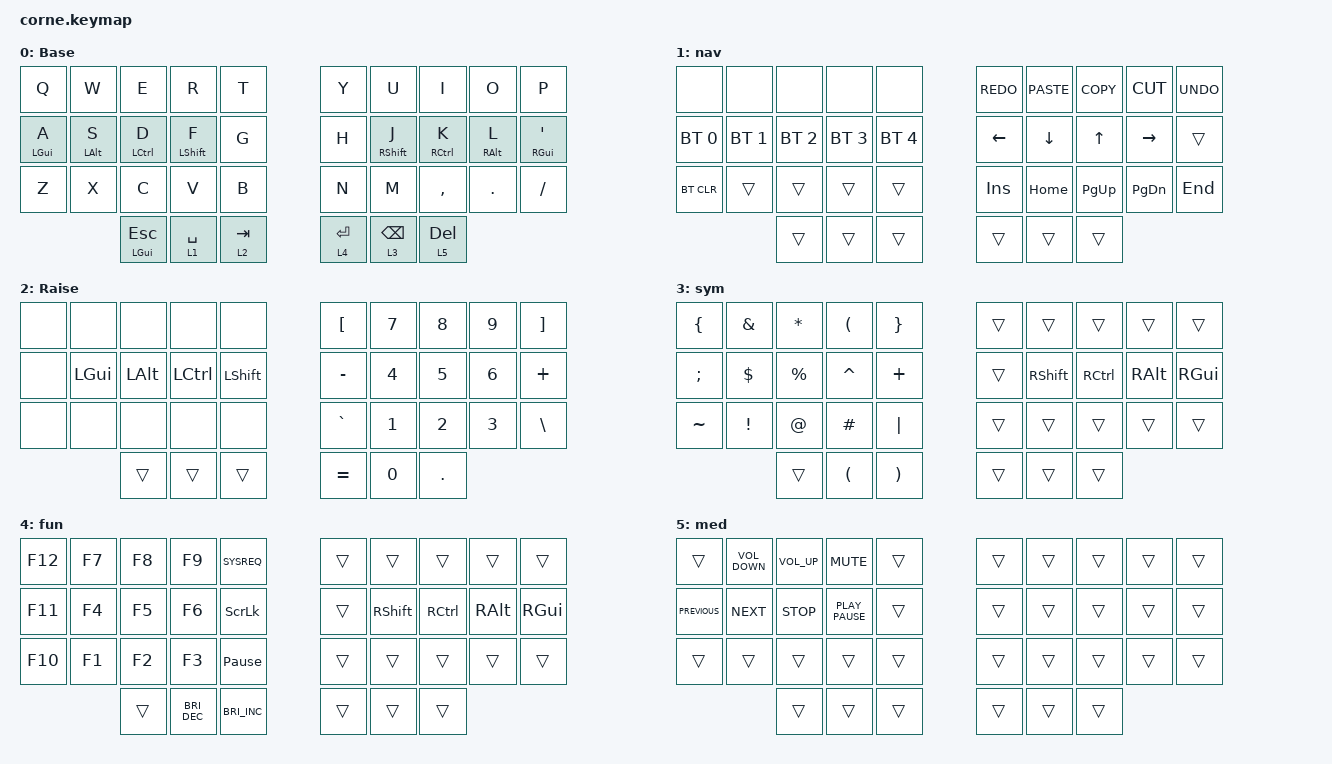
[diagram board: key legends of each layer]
/*
 * Copyright (c) 2020 The ZMK Contributors
 *
 * SPDX-License-Identifier: MIT
 */

#include <behaviors.dtsi>
#include <dt-bindings/zmk/bt.h>
#include <dt-bindings/zmk/keys.h>

#define AS(keycode) &as LS(keycode) keycode

/ {
    chosen { zmk,matrix_transform = &five_column_transform; };

    behaviors {
        as: auto_shift {
            compatible = "zmk,behavior-hold-tap";
            #binding-cells = <2>;
            tapping_term_ms = <200>;
            flavor = "tap-preferred";
            bindings = <&kp>, <&kp>;
        };

        hml: homerow_mods_left {
            compatible = "zmk,behavior-hold-tap";
            label = "HOMEROW_MODS_LEFT";
            bindings = <&kp>, <&kp>;

            #binding-cells = <2>;
            tapping-term-ms = <150>;
            flavor = "tap-preferred";
            hold-trigger-key-positions = <33 35 34 25 26 5 6 7 8 9 15 16 17 18 19 25 26 27 28 29 34 35>;
        };

        hmr: homewrow_mods_right {
            compatible = "zmk,behavior-hold-tap";
            label = "HOMEROW_MODS_RIGHT_HAND";
            bindings = <&kp>, <&kp>;

            #binding-cells = <2>;
            tapping-term-ms = <150>;
            flavor = "tap-preferred";
            hold-trigger-key-positions = <0 1 2 3 4 10 11 12 13 14 20 21 22 23 24 30 31 32>;
        };
    };

    combos {
        compatible = "zmk,combos";

        caps-lock {
            bindings = <&kp CAPSLOCK>;
            key-positions = <5 9>;
        };
    };

    keymap {
        compatible = "zmk,keymap";

        default_layer {
            // -----------------------------------------------------------------------------------------
            // |  Q  |  W  |  E  |  R  |  T  |     |  Y  |  U   |  I   |  O   | P |
            // |  A  |  S  |  D  |  F  |  G  |     |  H  |  J   |  K   |  L   | ' | 
            // |  Z  |  X  |  C  |  V  |  B  |     |  N  |  M   | CTRL | META | . |
            //             | GUI | LWR | SPC |     | ENT | RSE  | BSPC |

            display-name = "Base";
            bindings = <
  &kp Q        &kp W        &kp E            &kp R         &kp T        &kp Y      &kp U         &kp I         &kp O        &kp P
  &hml LGUI A  &hml LALT S  &hml LCTRL D     &hml LSHFT F  &kp G        &kp H      &hmr RSHFT J  &hmr RCTRL K  &hmr RALT L  &hmr RGUI SQT
  &kp Z        &kp X        &kp C            &kp V         &kp B        &kp N      &kp M         &kp COMMA     &kp DOT      &kp SLASH
                            &mt LGUI ESCAPE  &lt 1 SPACE   &lt 2 TAB    &lt 4 RET  &lt 3 BSPC    &lt 5 DELETE
            >;
        };

        nav_layer {
            // -----------------------------------------------------------------------------------------
            // | !     |  @  |  #  |  $  |  %  |     |  ^  |  &  |  *  |  (  |  )  |
            // | BT1   | BT2 | BT3 | BT4 | BT5 |     | LFT | DWN |  UP | RGT |     |
            // | BTCLR |     |     |     |     |     |     |     |     |     |     |
            //               | GUI |     | SPC |     | ENT | ESC | TAB |

            display-name = "nav";
            bindings = <
  &none         &none         &none         &none         &none           &kp K_REDO  &kp K_PASTE  &kp K_COPY   &kp K_CUT      &kp K_UNDO
  &bt BT_SEL 0  &bt BT_SEL 1  &bt BT_SEL 2  &bt BT_SEL 3  &bt BT_SEL 4    &kp LEFT    &kp DOWN     &kp UP       &kp RIGHT      &trans
  &bt BT_CLR    &trans        &trans        &trans        &trans          &kp INSERT  &kp HOME     &kp PAGE_UP  &kp PAGE_DOWN  &kp END
                              &trans        &trans        &trans          &trans      &trans       &trans
            >;
        };

        num_layer {
            // -----------------------------------------------------------------------------------------
            // | 1! |  2@ |  3# |  4$ |  5% |     |  6^ |  7& |  8* |  9(  |  0)  |
            // | -_ |  =+ |  {  |  [  |  (  |     |  )  |  ]  |  }  |  /?  |  \|  |
            // | `~ |     |     |  ,< |  :  |     |  ;  |  .> | CTRL| META |      |
            //            | GUI | ESC | SPC |     | ENT |     | TAB |

            display-name = "Raise";
            bindings = <
  &none  &none     &none     &none      &none        &kp LEFT_BRACKET  &kp N7  &kp N8   &kp N9  &kp RBKT
  &none  &kp LGUI  &kp LALT  &kp LCTRL  &kp LSHFT    &kp MINUS         &kp N4  &kp N5   &kp N6  &kp PLUS
  &none  &none     &none     &none      &none        &kp GRAVE         &kp N1  &kp N2   &kp N3  &kp BSLH
                   &trans    &trans     &trans       &kp EQUAL         &kp N0  &kp DOT
            >;

            label = "num";
        };

        sym_layer {
            bindings = <
  &kp LEFT_BRACE  &kp AMPERSAND    &kp ASTERISK  &kp LEFT_PARENTHESIS  &kp RIGHT_BRACE          &trans  &trans     &trans     &trans    &trans
  &kp SEMICOLON   &kp DOLLAR       &kp PERCENT   &kp CARET             &kp PLUS                 &trans  &kp RSHFT  &kp RCTRL  &kp RALT  &kp RGUI
  &kp TILDE       &kp EXCLAMATION  &kp AT_SIGN   &kp HASH              &kp PIPE                 &trans  &trans     &trans     &trans    &trans
                                   &trans        &kp LEFT_PARENTHESIS  &kp RIGHT_PARENTHESIS    &trans  &trans     &trans
            >;

            label = "sym";
        };

        fun_layer {
            bindings = <
  &kp F12  &kp F7  &kp F8  &kp F9                &kp SYSREQ              &trans  &trans     &trans     &trans    &trans
  &kp F11  &kp F4  &kp F5  &kp F6                &kp SCROLLLOCK          &trans  &kp RSHFT  &kp RCTRL  &kp RALT  &kp RGUI
  &kp F10  &kp F1  &kp F2  &kp F3                &kp PAUSE_BREAK         &trans  &trans     &trans     &trans    &trans
                   &trans  &kp C_BRIGHTNESS_DEC  &kp C_BRIGHTNESS_INC    &trans  &trans     &trans
            >;

            label = "fun";
        };

        media_layer {
            bindings = <
  &trans          &kp C_VOLUME_DOWN  &kp C_VOLUME_UP  &kp K_MUTE        &trans    &trans  &trans  &trans  &trans  &trans
  &kp K_PREVIOUS  &kp C_NEXT         &kp K_STOP       &kp K_PLAY_PAUSE  &trans    &trans  &trans  &trans  &trans  &trans
  &trans          &trans             &trans           &trans            &trans    &trans  &trans  &trans  &trans  &trans
                                     &trans           &trans            &trans    &trans  &trans  &trans
            >;

            label = "med";
        };
    };
};
